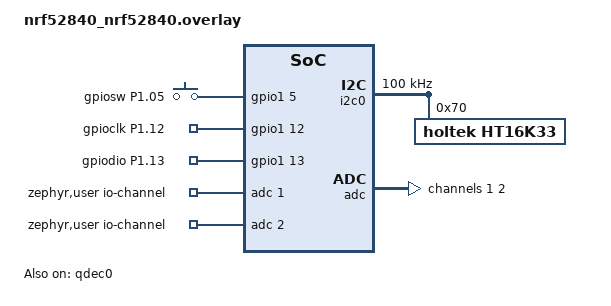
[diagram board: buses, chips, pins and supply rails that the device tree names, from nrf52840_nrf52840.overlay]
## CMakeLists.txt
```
cmake_minimum_required(VERSION 3.20.0)
find_package(Zephyr REQUIRED HINTS $ENV{ZEPHYR_BASE})
project(MA_FinalProject)

FILE(GLOB app_sources src/*.c)
target_sources(app PRIVATE ${app_sources})
```

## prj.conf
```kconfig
# Activate Sensor subsystem in zephyr OS
CONFIG_SENSOR=y

# Activate printk function
CONFIG_PRINTK=y 

# Activate GPIO Driver
CONFIG_GPIO=y 

# Activate Logging subsystem - Log message
CONFIG_LOG=y 

# Activate I2C (Inter-Integrated Circuit) Driver
CONFIG_I2C=y

# Activate LED Driver
CONFIG_LED=y

# Activate key Scan (Keyboard Scan Driver)
CONFIG_KSCAN=y

# Initialize priority of key Scan (Keyboard Scan Driver)
CONFIG_KSCAN_INIT_PRIORITY=95

# Activate key Scan (Keyboard Scan Driver) for HT16K33
CONFIG_HT16K33_KEYSCAN=y

CONFIG_ADC=y

# Increased stack due to settings API usage
CONFIG_SYSTEM_WORKQUEUE_STACK_SIZE=2048

# Bluetooth settings
CONFIG_BT=y
CONFIG_BT_DEBUG_LOG=y
CONFIG_BT_SMP=y
CONFIG_BT_SIGNING=y
CONFIG_BT_PERIPHERAL=y
CONFIG_BT_DIS=y
CONFIG_BT_ATT_PREPARE_COUNT=5
CONFIG_BT_BAS=y
CONFIG_BT_HRS=y
CONFIG_BT_IAS=y
CONFIG_BT_PRIVACY=y
CONFIG_BT_DEVICE_NAME="Zephyr Peripheral Sample Long Name"
CONFIG_BT_DEVICE_APPEARANCE=833
CONFIG_BT_DEVICE_NAME_DYNAMIC=y
CONFIG_BT_DEVICE_NAME_MAX=65

CONFIG_BT_KEYS_OVERWRITE_OLDEST=y
CONFIG_BT_SETTINGS=y
CONFIG_FLASH=y
CONFIG_FLASH_PAGE_LAYOUT=y
CONFIG_FLASH_MAP=y
CONFIG_NVS=y
CONFIG_SETTINGS=y
```

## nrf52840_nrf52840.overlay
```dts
// To get started, press Ctrl+Space to bring up the completion menu and view the available nodes.

// You can also use the buttons in the sidebar to perform actions on nodes.
// Actions currently available include:

// * Enabling / disabling the node
// * Adding the bus to a bus
// * Removing the node
// * Connecting ADC channels

// For more help, browse the DeviceTree documentation at https://docs.zephyrproject.org/latest/guides/dts/index.html
// You can also visit the nRF DeviceTree extension documentation at https://nrfconnect.github.io/vscode-nrf-connect/devicetree/nrfdevicetree.html

/*
 * Copyright 2023 Nordic Semiconductor ASA
 * SPDX-License-Identifier: Apache-2.0
 */

 / {
	aliases {
		qdec0 = &qdec0;
		gpio-sw = &gpiosw;
		gpio-clk = &gpioclk;
		gpio-dio = &gpiodio;
	};

	gpiocustom {
		status = "okay";
		compatible = "gpio-keys";

		gpiosw: gpiosw {
			gpios = <&gpio1 5 (GPIO_PULL_UP)>;
			label = "gpiosw P1.05";
		};
    
		gpioclk: gpioclk{
			gpios = <&gpio1 12 GPIO_ACTIVE_HIGH>;
			label = "gpioclk P1.12";
		};

		gpiodio: gpiodio{
			gpios = <&gpio1 13 GPIO_ACTIVE_HIGH>;
			label = "gpiodio P1.13";
		};
	};
};

&pinctrl {
	qdec_pinctrl: qdec_pinctrl {
		group1 {
			psels = <NRF_PSEL(QDEC_A, 1, 4)>,   /* Arduino D3 */
				<NRF_PSEL(QDEC_B, 1, 3)>;   /* Arduino D2 */
		};
	};
};

&qdec0 {
	status = "okay";
	pinctrl-0 = <&qdec_pinctrl>;
	pinctrl-names = "default";
	steps = < 20 >;
	led-pre = < 500 >;
};

&i2c0 {
	clock-frequency = <I2C_BITRATE_STANDARD>;

	ht16k33@70 {
		compatible = "holtek,ht16k33";
		reg = <0x70>;
                /* Uncomment to use IRQ instead of polling: */
		/* irq-gpios = <&gpio1 8 (GPIO_PULL_UP | GPIO_ACTIVE_LOW)>; */

		keyscan {
			compatible = "holtek,ht16k33-keyscan";
		};
	};
};

&spi3 {
	status = "disabled";
};

/ {
	zephyr,user {
		io-channels = <&adc 1>, <&adc 2>;
	};
};

&adc {
	#address-cells = <1>;
	#size-cells = <0>;

	channel@1 {
		reg = <1>;
		zephyr,gain = "ADC_GAIN_1";
		zephyr,reference = "ADC_REF_INTERNAL";
		zephyr,acquisition-time = <ADC_ACQ_TIME_DEFAULT>;
		zephyr,input-positive = <NRF_SAADC_AIN1>; /* P0.03 */
		zephyr,resolution = <10>;
		// zephyr,differential;
	};

	channel@2 {
		reg = <2>;
		zephyr,gain = "ADC_GAIN_1";
		zephyr,reference = "ADC_REF_INTERNAL";
		zephyr,acquisition-time = <ADC_ACQ_TIME_DEFAULT>;
		zephyr,input-positive = <NRF_SAADC_AIN2>; /* P0.04 */
		zephyr,resolution = <10>;
		// zephyr,differential;
	};
};
```

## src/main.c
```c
/*
 * Copyright (c) 2022 Valerio Setti <valerio.setti@gmail.com>
 *
 * SPDX-License-Identifier: Apache-2.0
 */

#include <inttypes.h>
#include <stddef.h>
#include <stdint.h>

#include <zephyr/kernel.h>
#include <zephyr/device.h>
#include <zephyr/devicetree.h>
#include <zephyr/drivers/sensor.h>
#include <zephyr/drivers/adc.h>
#include <zephyr/drivers/gpio.h>
#include <zephyr/sys/printk.h>
#include <zephyr/sys/util.h>

#include "led.h"
#include "batterydisplay.h"
#include "cts.h"

#include <zephyr/types.h>
#include <string.h>
#include <errno.h>
#include <zephyr/sys/byteorder.h>
#include <zephyr/settings/settings.h>
#include <zephyr/bluetooth/bluetooth.h>
#include <zephyr/bluetooth/hci.h>
#include <zephyr/bluetooth/conn.h>
#include <zephyr/bluetooth/uuid.h>
#include <zephyr/bluetooth/gatt.h>
#include <zephyr/bluetooth/services/bas.h>
#include <zephyr/bluetooth/services/hrs.h>
#include <zephyr/bluetooth/services/ias.h>

// [BLE Part]
// Custom Service Variables
#define BT_UUID_CUSTOM_SERVICE_VAL \
    BT_UUID_128_ENCODE(0x12345678, 0x1234, 0x5678, 0x1234, 0x56789abcdef0)

#define BT_UUID_CUSTOM_MESSAGE_VAL \
    BT_UUID_128_ENCODE(0x12345678, 0x1234, 0x5678, 0x1234, 0x56789abcdef5)

static struct bt_uuid_128 custom_service_uuid = BT_UUID_INIT_128(BT_UUID_CUSTOM_SERVICE_VAL);
static struct bt_uuid_128 custom_message_uuid = BT_UUID_INIT_128(BT_UUID_CUSTOM_MESSAGE_VAL);

#define CUSTOM_MESSAGE_MAX_LEN 50

static uint8_t custom_message_value[CUSTOM_MESSAGE_MAX_LEN + 1] = "your safe is secured."; //when connect device with bluetooth

static ssize_t read_custom_message(struct bt_conn *conn, const struct bt_gatt_attr *attr, void *buf, uint16_t len, uint16_t offset)
{
    const char *value = attr->user_data;
    return bt_gatt_attr_read(conn, attr, buf, len, offset, value, strlen(value));
}

// Custom Service Declaration
BT_GATT_SERVICE_DEFINE(custom_svc,
                       BT_GATT_PRIMARY_SERVICE(&custom_service_uuid),
                       BT_GATT_CHARACTERISTIC(&custom_message_uuid.uuid,
                                              BT_GATT_CHRC_READ,
                                              BT_GATT_PERM_READ,
                                              read_custom_message, NULL, custom_message_value));

static const struct bt_data ad[] = {
    BT_DATA_BYTES(BT_DATA_FLAGS, (BT_LE_AD_GENERAL | BT_LE_AD_NO_BREDR)),
    BT_DATA_BYTES(BT_DATA_UUID128_ALL, BT_UUID_CUSTOM_SERVICE_VAL),
};

void mtu_updated(struct bt_conn *conn, uint16_t tx, uint16_t rx)
{
    printk("Updated MTU: TX: %d RX: %d bytes\n", tx, rx);
}

static struct bt_gatt_cb gatt_callbacks = {
    .att_mtu_updated = mtu_updated};

static void connected(struct bt_conn *conn, uint8_t err)
{
    if (err)
    {
        printk("Connection failed (err 0x%02x)\n", err);
    }
    else
    {
        printk("Connected\n");
    }
}

static void disconnected(struct bt_conn *conn, uint8_t reason)
{
    printk("Disconnected (reason 0x%02x)\n", reason);
}

BT_CONN_CB_DEFINE(conn_callbacks) = {
    .connected = connected,
    .disconnected = disconnected,
};

static void bt_ready(void)
{
    int err;

    printk("Bluetooth initialized\n");

    cts_init();

    if (IS_ENABLED(CONFIG_SETTINGS))
    {
        settings_load();
    }

    err = bt_le_adv_start(BT_LE_ADV_CONN_NAME, ad, ARRAY_SIZE(ad), NULL, 0);
    if (err)
    {
        printk("Advertising failed to start (err %d)\n", err);
        return;
    }

    printk("Advertising successfully started\n");
}

void start_bluetooth(void)
{
    int err;

    err = bt_enable(NULL);
    if (err)
    {
        printk("Bluetooth init failed (err %d)\n", err);
        return;
    }

    bt_ready();

    bt_gatt_cb_register(&gatt_callbacks);

    printk("Bluetooth initialized\n");
}

// [LED Part]
#if !DT_NODE_EXISTS(DT_ALIAS(qdec0))
#error "Unsupported board: qdec0 devicetree alias is not defined"
#endif

#define SW_NODE DT_NODELABEL(gpiosw)
#if !DT_NODE_HAS_STATUS(SW_NODE, okay)
#error "Unsupported board: gpiosw devicetree alias is not defined or enabled"
#endif
static const struct gpio_dt_spec sw = GPIO_DT_SPEC_GET(SW_NODE, gpios);

static int rotary_idx = 0;

#define MAX_SAVED_NUMBERS 4 //MAX number of password.
static bool sw_led_flag = false; // can save number in encoder. 
static int saved_numbers[MAX_SAVED_NUMBERS] = { -1, -1, -1, -1 }; // when click the encoder, the number will save. 
static int saved_index = 0; //count the number that saved by rotary
static int password[MAX_SAVED_NUMBERS] = {1, 2, 3, 4}; // password of locker, (it can change by user)
static int password_matched = -1; //check if password is matched or not
int flag_password_moved = false;
int time_out = false; //break when time_out get true
int success = false; //when password success it will quit program.

static struct gpio_callback sw_cb_data;

extern const uint8_t led_patterns[10][8];

// [Joystick Part]
static int saved_number_joystick[MAX_SAVED_NUMBERS] = { -1, -1, -1, -1 };
static int password_joystick[MAX_SAVED_NUMBERS] = {1, 2, 3, 4}; // Password of joystick
static int saved_index_joystick = 0;
int flag_joystick = false;
int flag_joystick_moved = false;

#if !DT_NODE_EXISTS(DT_PATH(zephyr_user)) || \
    !DT_NODE_HAS_PROP(DT_PATH(zephyr_user), io_channels)
#error "No suitable devicetree overlay specified"
#endif

#define DT_SPEC_AND_COMMA(node_id, prop, idx) \
    ADC_DT_SPEC_GET_BY_IDX(node_id, idx),

/* Data of ADC io-channels specified in devicetree. */
static const struct adc_dt_spec adc_channels[] = {
    DT_FOREACH_PROP_ELEM(DT_PATH(zephyr_user), io_channels,
                 DT_SPEC_AND_COMMA)
};

int32_t preX = 0 , perY = 0;
static const int ADC_MAX = 1023;
static const int AXIS_DEVIATION = ADC_MAX / 2;
int32_t nowX = 0, nowY = 0;

// [LED Part]
bool compare_arrays(int *array1, int *array2, int size) {
  for (int i = 0; i < size; i++) {
      if (array1[i] != array2[i]) {
          return false;
      }
  }
  return true;
}

void sw_callback(const struct device *dev, struct gpio_callback *cb, uint32_t pins) //encoder click 하는 부분
{
    printk("SW pressed, displaying number %d on the right matrix\n", rotary_idx);
    sw_led_flag = true;
    flag_password_moved = true;

    // Save the current number
    saved_numbers[saved_index++] = rotary_idx;
  
    // Print saved numbers
    if (saved_index == MAX_SAVED_NUMBERS) {  // when saved index has 4 number.
        printk("complete\n");
        printk("Saved numbers: ");
        for (int i = 0; i < MAX_SAVED_NUMBERS; i++) { //number that user save (just print even is false)
            printk("%d ", saved_numbers[i]);
        }
        printk("\n");
        
        if (compare_arrays(saved_numbers, password, MAX_SAVED_NUMBERS)) { //compare if password is correct or wrong
            printk("Password matched!\n");
            password_matched = true;
            strncpy(custom_message_value, "password success", CUSTOM_MESSAGE_MAX_LEN); //send "password success" to bluetooth
        } else {
            printk("Password not matched!\n");
            password_matched = false;
            strncpy(custom_message_value, "password fail", CUSTOM_MESSAGE_MAX_LEN);
        }
    }
}

void check_password_matching(void) {
    if (password_matched) { //if password_matched is true display smile face to LED matrix
        display_success(); 
        success = true; //progroam quit
    } else {
        display_not_success();
        saved_index = 0; // initialize saved_index to 0 
        k_msleep(3000);
        rotary_idx = 0; // reset led matrix to 0 when password fail
        display_pattern(led_patterns[rotary_idx], RIGHT); // LED matrix to 0 - right
        display_pattern(led_patterns[rotary_idx], LEFT);  // LED matrix to 0 - left
    }
}

void display_rotary_led(int32_t rotary_val)
{
    if (rotary_val == 0) { //make led matrix increase or decrease when rotate the encoder more or less than 17 degree
    } else if (rotary_val - 17 > 0) {
        rotary_idx++;
    } else if (rotary_val + 17 < 0) {
        rotary_idx--;
    }

    if (rotary_idx < 0) {
        rotary_idx = MAX_ROTARY_IDX - 1;
    } else if (rotary_idx >= MAX_ROTARY_IDX) {
        rotary_idx = 0;
    }

    printk("Rotary encoder moved, displaying number %d on the left matrix\n", rotary_idx);
    led_on_idx(rotary_idx, LEFT);
}

// [Joystick Part]
bool isChange(void)
{
    if ((nowX < (preX - 50)) || nowX > (preX+50)) {
        preX = nowX;
        return true;
    }

    if ((nowY < (perY - 50)) || nowY > (perY+50)) {
        perY = nowY;
        return true;
    }
    
    return false;
}

// [Battery Display Part]
static int seconds = 121; //
int seconds_count = 0;

//battery gage per sec
void update_battery_display(int stage)
{
    // Battery Display Level
    uint8_t level = 0;

    // every 12 seconds battery level get change
    if (seconds >= 120) {
        level = 10;
    } else if (seconds >= 108) {
        level = 9;
    } else if (seconds >= 96) {
        level = 8;
    } else if (seconds >= 84) {
        level = 7;
    } else if (seconds >= 72) {
        level = 6;
    } else if (seconds >= 60) {
        level = 5;
    } else if (seconds >= 48) {
        level = 4;
    } else if (seconds >= 36) {
        level = 3;
    } else if (seconds >= 24) {
        level = 2;
    } else if (seconds > 12) {
        level = 1;
    } else if (seconds == 0) {
        level = 0;
    }

    // show level of battery
    display_level(level);

    // time decrease
    if (stage == 1 && seconds_count == 10) {
        seconds--;
        seconds_count = 0;
    }

    if (stage == 2) {
        seconds--;
    }

    if (seconds < 0) {
        time_out = true;
        display_not_success();
        strncpy(custom_message_value, "time out", CUSTOM_MESSAGE_MAX_LEN); // send "time out" to app
    }

    seconds_count++;
}

int bluetooth = true; 

int main(void)
{
    if (bluetooth) { //connect to bluetooth
        start_bluetooth();
        bluetooth = false; //didn't need to connect again
    }

    // [LED Part Initialize]
    struct sensor_value val;
    int rc;
    const struct device *const dev = DEVICE_DT_GET(DT_ALIAS(qdec0));

    if (!device_is_ready(dev)) {
        printk("Qdec device is not ready\n");
        return 0;
    }

    if (!device_is_ready(sw.port)) {
        printk("SW GPIO is not ready\n");
        return 0;
    }

    int err = gpio_pin_configure_dt(&sw, GPIO_INPUT | GPIO_PULL_UP);
    if (err < 0) {
        printk("Error configuring SW GPIO pin %d\n", err);
        return 0;
    }

    gpio_init_callback(&sw_cb_data, sw_callback, BIT(sw.pin));
    err = gpio_add_callback(sw.port, &sw_cb_data);
    if (err < 0) {
        printk("Error adding callback for SW GPIO pin %d\n", err);
        return 0;
    }

    err = gpio_pin_interrupt_configure_dt(&sw, GPIO_INT_EDGE_TO_ACTIVE);
    if (err != 0) {
        printk("Error configuring SW GPIO interrupt %d\n", err);
        return 0;
    }

    // [Joystick Part Initialize]
    uint32_t count = 0;
    uint16_t buf;
    struct adc_sequence sequence = {
        .buffer = &buf,
        /* buffer size in bytes, not number of samples */
        .buffer_size = sizeof(buf),
    };

    /* Configure channels individually prior to sampling. */
    for (size_t i = 0U; i < ARRAY_SIZE(adc_channels); i++) {
        if (!adc_is_ready_dt(&adc_channels[i])) {
            printk("ADC controller device %s not ready\n", adc_channels[i].dev->name);
            return 0;
        }

        err = adc_channel_setup_dt(&adc_channels[i]);
        if (err < 0) {
            printk("Could not setup channel #%d (%d)\n", i, err);
            return 0;
        }
    }

    // I2C Matrix initialize
    if (led_init() < 0) {
        printk("LED init failed\n");
        return 0;
    }
  
    // battery display initialize
    if (batterydisplay_init() < 0) {
        printk("Battery display init failed\n");
        return 0;
    }

    // Stage 1. Password by Joystick
    while (1) {
        //printk("ADC reading[%u]: ", count++);

        (void)adc_sequence_init_dt(&adc_channels[0], &sequence);
        err = adc_read(adc_channels[0].dev, &sequence);
        if (err < 0) {
            printk("Could not read (%d)\n", err);
            continue;
        }

        nowX = (int32_t)buf;

        (void)adc_sequence_init_dt(&adc_channels[1], &sequence);
        err = adc_read(adc_channels[1].dev, &sequence);
        if (err < 0) {
            printk("Could not read (%d)\n", err);
            continue;
        }

        nowY = (int32_t)buf;

        //printk("Joy X: %" PRIu32 ", ", nowX);
        //printk("Joy Y: %" PRIu32 ", ", nowY);

        if (flag_joystick_moved == true) {
            strncpy(custom_message_value, "Your safe is being opened(joystick)", CUSTOM_MESSAGE_MAX_LEN); // 
            update_battery_display(1);
            printk("seconds: %d\n", seconds);
        }

        if (nowX >= 65500 || nowY >= 65500){
            printk("Out of Range\n");
            k_sleep(K_MSEC(100));
            continue;
        }

        bool checkFlag = isChange();
        if(!checkFlag){
            //printk("No Change\n");
            k_sleep(K_MSEC(100));
            continue;
        } else {
            led_off_all();
        }

        if (nowX == ADC_MAX && nowY == ADC_MAX){
            led_on_center();
            flag_joystick = true;
            printk("Center");
        } else if (nowX < AXIS_DEVIATION && nowY == ADC_MAX){
            led_on_left();

            if (flag_joystick) {
                saved_number_joystick[saved_index_joystick++] = 4;
            }
            flag_joystick = false;
            flag_joystick_moved = true;
            printk("Left");
        } else if (nowX > AXIS_DEVIATION && nowY == ADC_MAX) {
            led_on_right();
            if (flag_joystick) {
                saved_number_joystick[saved_index_joystick++] = 2;
            }
            flag_joystick = false;
            flag_joystick_moved = true;
            printk("Right");
        } else if (nowY > AXIS_DEVIATION && nowX == ADC_MAX){
            led_on_up();

            if (flag_joystick) {
                saved_number_joystick[saved_index_joystick++] = 1;
            }
            flag_joystick = false;
            flag_joystick_moved = true;
            printk("Up");
        } else if (nowY < AXIS_DEVIATION && nowX == ADC_MAX){
            led_on_down();

            if (flag_joystick) {
                saved_number_joystick[saved_index_joystick++] = 3;
            }
            flag_joystick = false;
            flag_joystick_moved = true;
            printk("Down");
        }
        
        if (saved_index_joystick == MAX_SAVED_NUMBERS) {
            if (compare_arrays(saved_number_joystick, password_joystick, MAX_SAVED_NUMBERS)) {
                led_off_all();
                display_success();
                k_msleep(3000);
                led_off_all();
                strncpy(custom_message_value, "Joystick success", CUSTOM_MESSAGE_MAX_LEN);
                break;
            }
            else {
                led_off_all();
                display_not_success();
                k_msleep(3000);
                saved_index_joystick = 0;
            }
        }
      
        printk("\n");

        if (time_out) {
            display_not_success();
            strncpy(custom_message_value, "someone failed to unlock your safe", CUSTOM_MESSAGE_MAX_LEN);
            break;
        }

        k_sleep(K_MSEC(100));
    }

    printk("Quadrature decoder sensor test\n");
    
    led_on_idx(rotary_idx, LEFT);

    // Stage 2. Password by Rotary Encoder
    while (true) {
        rc = sensor_sample_fetch(dev);
        if (rc != 0) {
            printk("Failed to fetch sample (%d)\n", rc);
            return 0;
        }

        rc = sensor_channel_get(dev, SENSOR_CHAN_ROTATION, &val);
        if (rc != 0) {
            printk("Failed to get data (%d)\n", rc);
            return 0;
        }

        if (!sw_led_flag) { // Display current rotary pattern on the left side
            display_rotary_led(val.val1);
        } else { // Display selected number on the right side
            display_pattern(led_patterns[rotary_idx], RIGHT);
            sw_led_flag = false; // Reset flag to allow continuous update
        }

        printk("current value: %d\n", rotary_idx);

        if (flag_password_moved == true) {
            strncpy(custom_message_value, "Your safe is being opened(password)", CUSTOM_MESSAGE_MAX_LEN);
        }

        // update battery level
        update_battery_display(2);
        printk("seconds: %d\n", seconds);

        if (saved_index == 4) {
            check_password_matching();
        }

        // termination condition
        if (time_out) {
            display_not_success();
            strncpy(custom_message_value, "someone failed to unlock your safe", CUSTOM_MESSAGE_MAX_LEN);
            break;
        }

        if (success) {
            break;
        }

        k_msleep(1000);
    }

    strncpy(custom_message_value, "Your safe is opened!", CUSTOM_MESSAGE_MAX_LEN);

    return 0;
}
```

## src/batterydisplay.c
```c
#include "batterydisplay.h"

static const struct gpio_dt_spec clk = GPIO_DT_SPEC_GET(DT_ALIAS(gpio_clk), gpios);
static const struct gpio_dt_spec dio = GPIO_DT_SPEC_GET(DT_ALIAS(gpio_dio), gpios);

static int8_t leveltab[11] = {0x00, 0x20, 0x40, 0x60, 0x70, 0x78, 0x7a, 0x7c, 0x7d, 0x7e, 0x7f}; // Level 0~10
static uint8_t cmd_dispctrl = DISPLAY_BRIGHTEST + BRIGHTNESS_LEVEL1;
static int setlevel = 0;

int batterydisplay_init(void)
{
    if (!device_is_ready(clk.port)) {
        printk("clk GPIO is not ready\n");
        return -1;
    }

    if (!device_is_ready(dio.port)) {
        printk("dio GPIO is not ready\n");
        return -1;
    }

    printk("batterydisplay_init success\n");

    return 0;
}

void set_brightness(int brightness)
{
    cmd_dispctrl = DISPLAY_BRIGHTEST + brightness;
}

void set_level(int level)
{
    setlevel = level;
}

void write_byte(int8_t wr_data)
{
    uint8_t data = wr_data;

    for (uint8_t i = 0; i < 8; i++) {
        gpio_pin_configure_dt(&clk, GPIO_OUTPUT);
        bit_delay();

        if (data & 0x01)
            gpio_pin_configure_dt(&dio, GPIO_INPUT);
        else
            gpio_pin_configure_dt(&dio, GPIO_OUTPUT);

        bit_delay();

        gpio_pin_configure_dt(&clk, GPIO_INPUT);
        bit_delay();

        data >>= 1;
    }

    gpio_pin_configure_dt(&clk, GPIO_OUTPUT);
    gpio_pin_configure_dt(&dio, GPIO_INPUT);
    bit_delay();

    gpio_pin_configure_dt(&clk, GPIO_INPUT);
    bit_delay();
    uint8_t ack = gpio_pin_get_dt(&dio);
    if (ack == 0) {
        gpio_pin_configure_dt(&dio, GPIO_OUTPUT);
    }

    bit_delay();
    gpio_pin_configure_dt(&clk, GPIO_OUTPUT);
    bit_delay();
}

void start(void)
{
    gpio_pin_configure_dt(&dio, GPIO_OUTPUT);
    bit_delay();
}

void stop(void)
{
    gpio_pin_configure_dt(&dio, GPIO_OUTPUT);
    bit_delay();

    gpio_pin_configure_dt(&clk, GPIO_INPUT);
    bit_delay();

    gpio_pin_configure_dt(&dio, GPIO_INPUT);
    bit_delay();
}

int display_level(uint8_t level)
{
    if (level > 10) {
        printk("Invalid level\n");
        return -1;
    }

    if (setlevel == level) {
        return 0;
    }

    set_level(level);
    printk("display_level: %d\n", level);

    start();
    write_byte(ADDR_FIXED);
    stop();

    start();
    write_byte(ADDR_CMD_00H);
    write_byte(leveltab[level]);
    stop();

    start();
    write_byte(cmd_dispctrl);
    stop();

    printk("display_level success\n");

    return 0;
}

void display_clear(void)
{
    display_level(0);
}

void bit_delay(void)
{
    k_sleep(K_TICKS(1));
}
```

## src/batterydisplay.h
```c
#ifndef BATTERYDISPLAY_H
#define BATTERYDISPLAY_H

#include <zephyr/drivers/gpio.h>
#include <zephyr/kernel.h>
#include <zephyr/sys/util.h>
#include <zephyr/sys/printk.h>

#define DISPLAY_BRIGHTEST 0x88
#define BRIGHTNESS_LEVEL1 0x01

#define ADDR_FIXED 0x44
#define ADDR_CMD_00H 0xC0

int batterydisplay_init(void);
void set_brightness(int brightness);
int display_level(uint8_t level);
void display_clear(void);

void start(void);
void stop(void);
void write_byte(int8_t wr_data);
void bit_delay(void);

#endif // BATTERYDISPLAY_H
```

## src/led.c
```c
#include "led.h"

const uint8_t led_patterns[10][8] = {
    {0b11111111, 0b10000001, 0b10000001, 0b10000001, 0b10000001, 0b10000001, 0b10000001, 0b11111111}, // 0
    {0b00010000, 0b00010000, 0b00010000, 0b00010000, 0b00010000, 0b00010000, 0b00010000, 0b00010000}, // 1
    {0b11111111, 0b00000001, 0b00000001, 0b11111111, 0b10000000, 0b10000000, 0b11111111, 0b00000000}, // 2
    {0b11111111, 0b00000001, 0b00000001, 0b11111111, 0b00000001, 0b00000001, 0b11111111, 0b00000000}, // 3
    {0b10000001, 0b10000001, 0b10000001, 0b11111111, 0b00000001, 0b00000001, 0b00000001, 0b00000000}, // 4
    {0b11111111, 0b10000000, 0b10000000, 0b11111111, 0b00000001, 0b00000001, 0b11111111, 0b00000000}, // 5
    {0b11111111, 0b10000000, 0b10000000, 0b11111111, 0b10000001, 0b10000001, 0b11111111, 0b00000000}, // 6
    {0b11111111, 0b00000001, 0b00000001, 0b00000001, 0b00000001, 0b00000001, 0b00000001, 0b00000000}, // 7
    {0b11111111, 0b10000001, 0b10000001, 0b11111111, 0b10000001, 0b10000001, 0b11111111, 0b00000000}, // 8
    {0b11111111, 0b10000001, 0b10000001, 0b11111111, 0b00000001, 0b00000001, 0b11111111, 0b00000000}  // 9
};


const uint8_t password_success[8] = { // when password get success (smile face)
    0b00000000, 
    0b01000010, 
    0b10100101, 
    0b00000000, 
    0b00000000, 
    0b01000010, 
    0b00111100, 
    0b00000000
};

const uint8_t password_unsuccess[8] = { // when password fail (crying face)
    0b00000000, 
    0b10100101, 
    0b01000010, 
    0b00000000, 
    0b00000000, 
    0b00111100, 
    0b01000010, 
    0b00000000
};

int led_init(void)
{
    if (!device_is_ready(led)) {
        printk("LED device %s is not ready\n", led->name);
        return -1;
    }
    return 0;
}

void led_off_all(void)
{
    for (int i = 0; i < MAX_LED_NUM; i++) {
        if (led_off(led, i) < 0) {
            printk("Failed to turn off LED %d\n", i);
        }
    }
}

void led_on_idx(int idx, bool left_right)
{
    if (idx < 0 || idx >= 10) {
        printk("Invalid index %d\n", idx);
        return;
    }
    display_pattern(led_patterns[idx], left_right);
}

void led_on_center(void)
{
    // led_off_all();
    led_set_brightness(led, 0, 0);

    for(int i = 38; i < 95; i+=16){
        led_on(led, i);
        led_on(led, i+1);
        led_on(led, i+2);
        led_on(led, i+3);
    }

    k_sleep(K_MSEC(100));
}

void led_on_right(void)
{
    // led_off_all();

    led_on(led, 26);
    led_on(led, 38); led_on(led, 39); led_on(led, 40); led_on(led, 41); led_on(led, 42); led_on(led, 43);
    led_on(led, 54); led_on(led, 55); led_on(led, 56); led_on(led, 57); led_on(led, 58); led_on(led, 59); led_on(led, 60); led_on(led, 61);
    led_on(led, 70); led_on(led, 71); led_on(led, 72); led_on(led, 73); led_on(led, 74); led_on(led, 75); led_on(led, 76); led_on(led, 77);
    led_on(led, 86); led_on(led, 87); led_on(led, 88); led_on(led, 89); led_on(led, 90); led_on(led, 91);
    led_on(led, 106);

    k_sleep(K_MSEC(100));
}

void led_on_left(void)
{
    // led_off_all();

    led_on(led, 21);
    led_on(led, 36); led_on(led, 37); led_on(led, 38); led_on(led, 39); led_on(led, 40); led_on(led, 41);
    led_on(led, 50); led_on(led, 51); led_on(led, 52); led_on(led, 53); led_on(led, 54); led_on(led, 55); led_on(led, 56); led_on(led, 57);
    led_on(led, 66); led_on(led, 67); led_on(led, 68); led_on(led, 69); led_on(led, 70); led_on(led, 71); led_on(led, 72); led_on(led, 73);
    led_on(led, 84); led_on(led, 85); led_on(led, 86); led_on(led, 87); led_on(led, 88); led_on(led, 89);
    led_on(led, 101);

    k_sleep(K_MSEC(100));
}

void led_on_up(void)
{
    // led_off_all();

    led_on(led, 23); led_on(led, 24);
    led_on(led, 37); led_on(led, 38); led_on(led, 39); led_on(led, 40); led_on(led, 41); led_on(led, 42);
    led_on(led, 52); led_on(led, 53); led_on(led, 54); led_on(led, 55); led_on(led, 56); led_on(led, 57); led_on(led, 58); led_on(led, 59);
    led_on(led, 70); led_on(led, 71); led_on(led, 72); led_on(led, 73);
    led_on(led, 86); led_on(led, 87); led_on(led, 88); led_on(led, 89);

    k_sleep(K_MSEC(100));
}

void led_on_down(void)
{
    // led_off_all();

    led_on(led, 38); led_on(led, 39); led_on(led, 40); led_on(led, 41);
    led_on(led, 54); led_on(led, 55); led_on(led, 56); led_on(led, 57);
    led_on(led, 68); led_on(led, 69); led_on(led, 70); led_on(led, 71); led_on(led, 72); led_on(led, 73); led_on(led, 74); led_on(led, 75);
    led_on(led, 85); led_on(led, 86); led_on(led, 87); led_on(led, 88); led_on(led, 89); led_on(led, 90);
    led_on(led, 103); led_on(led, 104);

    k_sleep(K_MSEC(100));

}

void display_pattern(const uint8_t pattern[8], bool left_right)
{
    for (int row = 0; row < 8; row++) {
        for (int col = 0; col < 8; col++) {
            int led_index = row * 16 + col;  // Default for left 8x8 part
            if (left_right) { // LEFT : 0, RIGHT : 1
                led_index += 8; // Shift to the right 8x8 part
            }
            if (led_index >= 0 && led_index < MAX_LED_NUM) {
                if (pattern[row] & (1 << (7 - col))) {
                    if (led_on(led, led_index) < 0) {
                        printk("Failed to turn on LED %d\n", led_index);
                    }
                } else {
                    if (led_off(led, led_index) < 0) {
                        printk("Failed to turn off LED %d\n", led_index);
                    }
                }
            } else {
                printk("LED index %d out of range\n", led_index);
            }
        }
    }
}

void display_success(void)
{
    display_pattern(password_success, LEFT);
    display_pattern(password_success, RIGHT);
}

void display_not_success(void)
{
    display_pattern(password_unsuccess, LEFT);
    display_pattern(password_unsuccess, RIGHT);
}
```

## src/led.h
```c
#ifndef LED_H
#define LED_H

#include <zephyr/drivers/led.h>
#include <zephyr/drivers/kscan.h>
#include <zephyr/devicetree.h>
#include <zephyr/kernel.h>

#define LEFT 0
#define RIGHT 1

#define LED_NODE DT_COMPAT_GET_ANY_STATUS_OKAY(holtek_ht16k33)
#define KEY_NODE DT_CHILD(LED_NODE, keyscan)

#define MAX_LED_NUM 128

#define MAX_ROTARY_IDX 10 // ?彀斤拷甓楈?殏?槰??殗飑愴殢?澒 15?????殏?樁?殗锟斤拷锟?

static const struct device *const led = DEVICE_DT_GET(LED_NODE);

extern const uint8_t led_patterns[10][8];

extern const uint8_t password_success[8];
extern const uint8_t password_unsuccess[8];

int led_init(void);

void led_off_all(void);
void led_on_idx(int idx, bool right_left);
void led_on_center(void);
void led_on_right(void);
void led_on_left(void);
void led_on_up(void);
void led_on_down(void);

void display_pattern(const uint8_t pattern[8], bool right_left);
void display_success(void);
void display_not_success(void);

#endif // LED_H
```
